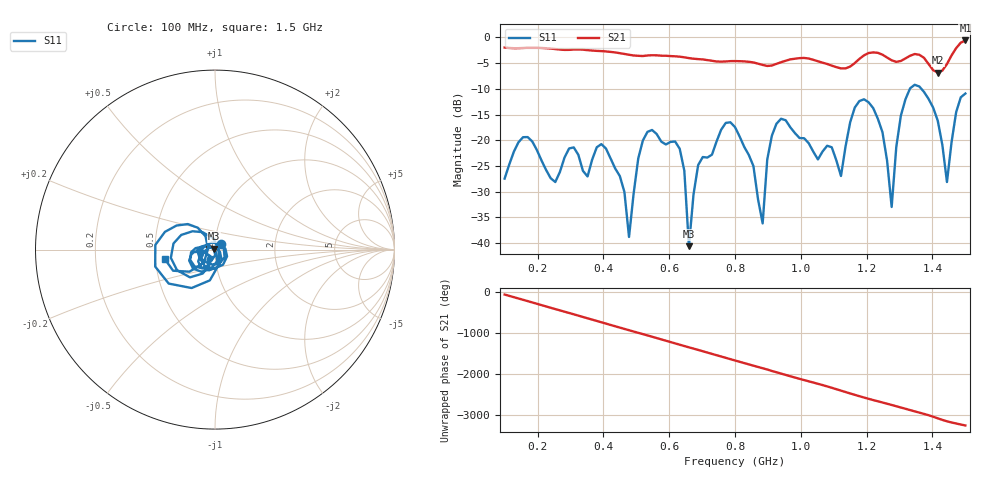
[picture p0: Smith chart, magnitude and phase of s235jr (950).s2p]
! NanoVNA-App
! Date: 2025-09-25 15:11:34
! Start: 100MHz Stop: 1,5GHz Points: 101
! S-Parameter data: F S11 S21 S12 S22
# Hz S RI R 50
!  Frequency  S11_Real  S11_Imag  S21_Real  S21_Imag  S12_Real  S12_Imag  S22_Real  S22_Imag
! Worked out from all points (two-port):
!   101 points, 100 MHz to 1.5 GHz, reference 50 ohm
!   highest |S21| = -0.58 dB at 1.5 GHz (marker M1); lowest = -6.8 dB at 1.416 GHz (marker M2)
!   |S21| within 3 dB of the highest: start of sweep to 510 MHz; 524.1 MHz to 595.5 MHz (71.37 MHz wide, 12.7 % of centre) (the widest 2 of 5)
!   lowest |S11| = -40.6 dB at 660 MHz (marker M3), VSWR 1.02, Z = 49.3 + j0.574 ohm
!   |S11| at or under -10 dB: start of sweep to 1.331 GHz; 1.366 GHz to end of sweep
!   S12 and S22 are empty: the file has one direction only
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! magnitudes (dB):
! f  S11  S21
! 100 MHz  -27.5  -2.0
! 156 MHz  -19.4  -2.0
! 338 MHz  -26.0  -2.4
! 408 MHz  -21.6  -2.7
! 478 MHz  -38.8  -3.4
! 520 MHz  -20.1  -3.6
! 576 MHz  -20.3  -3.6
! 632 MHz  -21.7  -3.7
! 660 MHz  -40.6  -4.0
! 688 MHz  -24.8  -4.2
! 800 MHz  -17.4  -4.6
! 884 MHz  -36.2  -5.3
! 926 MHz  -16.8  -5.1
! 1.038 GHz  -22.2  -4.4
! 1.122 GHz  -27.0  -6.0
! 1.206 GHz  -12.6  -3.0
! 1.248 GHz  -18.4  -3.3
! 1.276 GHz  -33.0  -4.4
! 1.332 GHz  -9.9  -3.6
! 1.416 GHz  -16.2  -6.8
! 1.444 GHz  -28.1  -5.2
! 1.5 GHz  -10.9  -0.6
